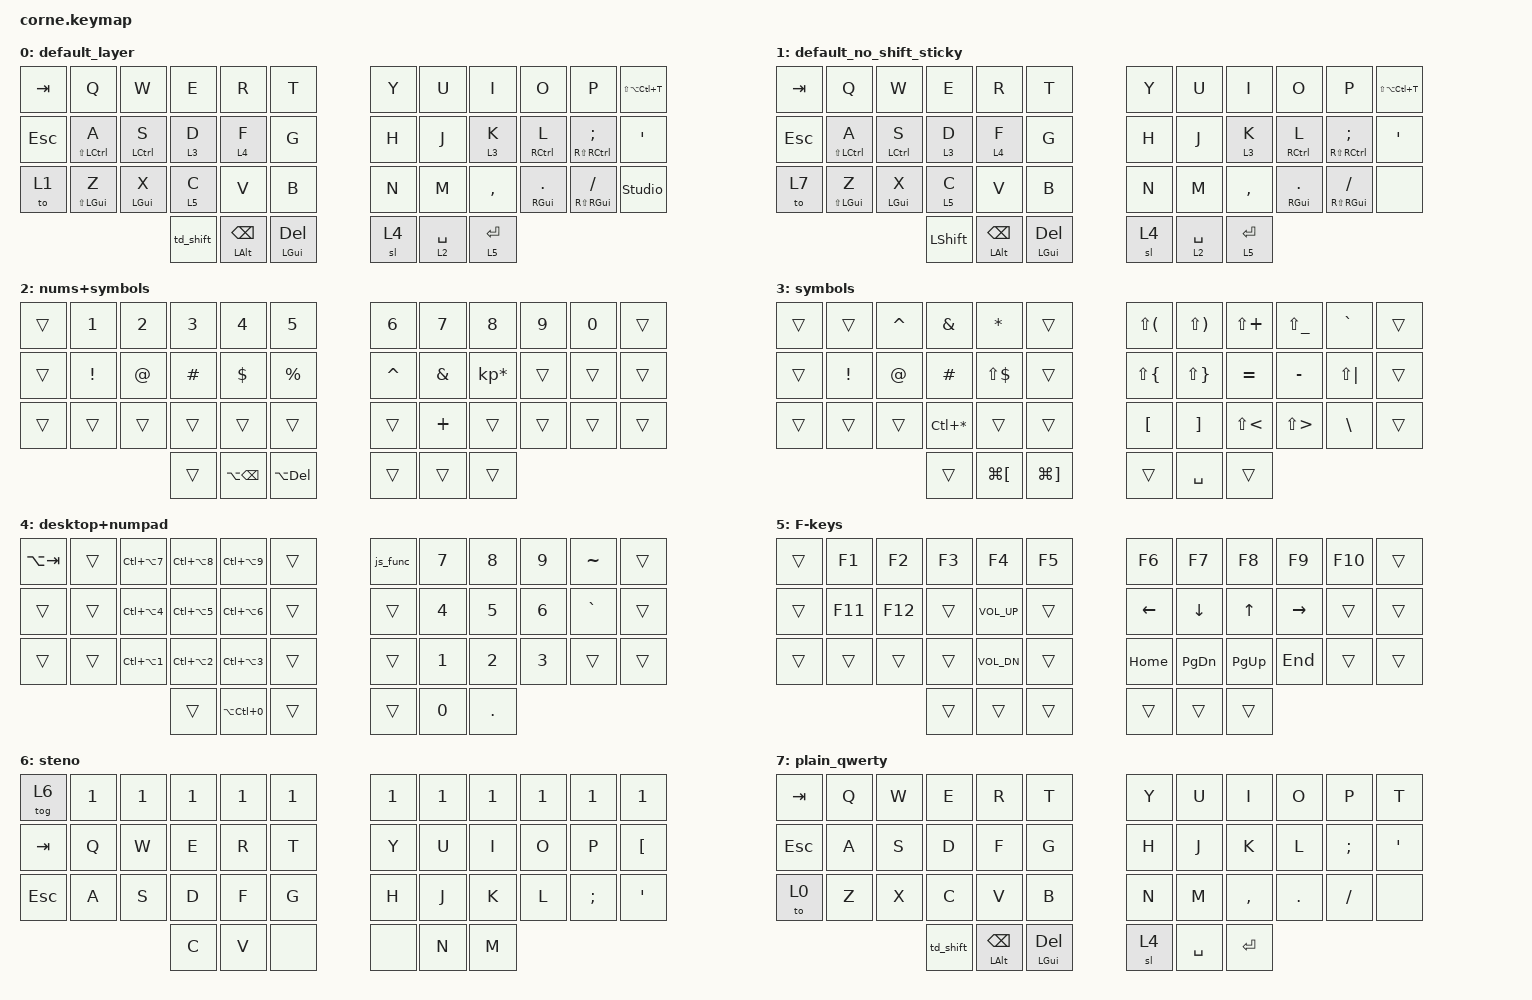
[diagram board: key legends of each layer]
/*
 * Copyright (c) 2020 The ZMK Contributors
 *
 * SPDX-License-Identifier: MIT
 */

#include <behaviors.dtsi>
#include <dt-bindings/zmk/bt.h>
#include <dt-bindings/zmk/keys.h>

&mt {
    flavor = "balanced";
    quick-tap-ms = <200>;
};

&lt { quick-tap-ms = <200>; };

&sk {
    quick-release;
    release-after-ms = <300>;
};

/ {
    combos {
        compatible = "zmk,combos";

        clearbt {
            bindings = <&bt BT_CLR_ALL>;
            key-positions = <0 24>;
        };

        comb_paren {
            bindings = <&kp LEFT_PARENTHESIS>;
            key-positions = <15 6>;
        };

        comb_brace {
            bindings = <&kp LEFT_BRACE>;
            key-positions = <15 18>;
        };

        comb_bracket {
            bindings = <&kp LEFT_BRACKET>;
            key-positions = <15 30>;
        };
    };

    behaviors {
        td_shift: td_shift {
            compatible = "zmk,behavior-tap-dance";
            label = "TD_SHIFT";
            #binding-cells = <0>;
            bindings = <&sk LEFT_SHIFT>, <&caps_word>;
        };

        lt_mod: lt_mod {
            compatible = "zmk,behavior-hold-tap";
            #binding-cells = <2>;
            flavor = "hold-preferred";
            tapping-term-ms = <200>;
            quick-tap-ms = <200>;
            bindings = <&kp>, <&sl>;
        };
    };

    macros {
        js_func: function {
            compatible = "zmk,behavior-macro";
            #binding-cells = <0>;
            bindings = <&kp LPAR &kp RPAR &kp SPACE &kp EQUAL &kp GT &kp SPACE &kp LBRC &kp ENTER>;
            label = "FUNCTION";
        };

        repeat: repeat {
            compatible = "zmk,behavior-macro";
            #binding-cells = <0>;
            bindings = <&kp F &repeat>;
            label = "REPEAT";
            wait-ms = <5000>;
        };
    };

    keymap {
        compatible = "zmk,keymap";

        default_layer {
            bindings = <
&kp TAB  &kp Q            &kp W        &kp E      &kp R                   &kp T                  &kp Y  &kp U        &kp I        &kp O         &kp P               &kp LS(LA(LC(T)))
&kp ESC  &mt LS(LCTRL) A  &mt LCTRL S  &lt 3 D    &lt 4 F                 &kp G                  &kp H  &kp J        &lt 3 K      &mt RCTRL L   &mt RS(RCTRL) SEMI  &kp SQT
&to 1    &mt LS(LGUI) Z   &mt LGUI X   &lt 5 C    &kp V                   &kp B                  &kp N  &kp M        &kp COMMA    &mt RGUI DOT  &mt RS(RGUI) FSLH   &studio_unlock
                                       &td_shift  &mt LEFT_ALT BACKSPACE  &mt LEFT_GUI DELETE    &sl 4  &lt 2 SPACE  &lt 5 ENTER
            >;
        };

        default_no_shift_sticky {
            bindings = <
&kp TAB  &kp Q            &kp W        &kp E           &kp R                   &kp T                  &kp Y  &kp U        &kp I        &kp O         &kp P               &kp LS(LA(LC(T)))
&kp ESC  &mt LS(LCTRL) A  &mt LCTRL S  &lt 3 D         &lt 4 F                 &kp G                  &kp H  &kp J        &lt 3 K      &mt RCTRL L   &mt RS(RCTRL) SEMI  &kp SQT
&to 7    &mt LS(LGUI) Z   &mt LGUI X   &lt 5 C         &kp V                   &kp B                  &kp N  &kp M        &kp COMMA    &mt RGUI DOT  &mt RS(RGUI) FSLH   &none
                                       &kp LEFT_SHIFT  &mt LEFT_ALT BACKSPACE  &mt LEFT_GUI DELETE    &sl 4  &lt 2 SPACE  &lt 5 ENTER
            >;
        };

        nums+symbols {
            bindings = <
&trans  &kp N1    &kp N2  &kp N3    &kp N4             &kp N5            &kp N6     &kp N7    &kp N8           &kp N9  &kp N0  &trans
&trans  &kp EXCL  &kp AT  &kp HASH  &kp DLLR           &kp PRCNT         &kp CARET  &kp AMPS  &kp KP_MULTIPLY  &trans  &trans  &trans
&trans  &trans    &trans  &trans    &trans             &trans            &trans     &kp PLUS  &trans           &trans  &trans  &trans
                          &trans    &kp LA(BACKSPACE)  &kp LA(DELETE)    &trans     &trans    &trans
            >;
        };

        symbols {
            bindings = <
&trans  &trans           &kp CARET    &kp AMPERSAND     &kp ASTERISK          &trans                   &kp LS(LPAR)  &kp LS(RPAR)  &kp LS(PLUS)  &kp LS(UNDER)  &kp GRAVE     &trans
&trans  &kp EXCLAMATION  &kp AT_SIGN  &kp HASH          &kp LS(DLLR)          &trans                   &kp LS(LBRC)  &kp LS(RBRC)  &kp EQUAL     &kp MINUS      &kp LS(PIPE)  &trans
&trans  &trans           &trans       &kp LC(ASTERISK)  &trans                &trans                   &kp LBKT      &kp RBKT      &kp LS(LT)    &kp LS(GT)     &kp BSLH      &trans
                                      &trans            &kp LG(LEFT_BRACKET)  &kp LG(RIGHT_BRACKET)    &trans        &kp SPACE     &trans
            >;
        };

        desktop+numpad {
            bindings = <
&kp LA(TAB)  &trans  &kp LC(LA(N7))  &kp LC(LA(N8))  &kp LC(LA(N9))  &trans    &js_func  &kp N7  &kp N8   &kp N9  &kp TILDE  &trans
&trans       &trans  &kp LC(LA(N4))  &kp LC(LA(N5))  &kp LC(LA(N6))  &trans    &trans    &kp N4  &kp N5   &kp N6  &kp GRAVE  &trans
&trans       &trans  &kp LC(LA(N1))  &kp LC(LA(N2))  &kp LC(LA(N3))  &trans    &trans    &kp N1  &kp N2   &kp N3  &trans     &trans
                                     &trans          &kp LA(LC(N0))  &trans    &trans    &kp N0  &kp DOT
            >;
        };

        F-keys {
            // -----------------------------------------------------------------------------------------
            // |  TAB |  1  |  2  |  3  |  4  |  5  |   |  6  |  7  |  8  |  9  |  0  | BKSP |
            // | BTCLR| BT1 | BT2 | BT3 | BT4 | BT5 |   | LFT | DWN |  UP | RGT |     |      |
            // | SHFT |     |     |     |     |     |   |     |     |     |     |     |      |
            //                    | GUI |     | SPC |   | ENT |     | ALT |

            bindings = <
&trans  &kp F1   &kp F2   &kp F3  &kp F4        &kp F5    &kp F6    &kp F7     &kp F8     &kp F9     &kp F10  &trans
&trans  &kp F11  &kp F12  &trans  &kp C_VOL_UP  &trans    &kp LEFT  &kp DOWN   &kp UP     &kp RIGHT  &trans   &trans
&trans  &trans   &trans   &trans  &kp C_VOL_DN  &trans    &kp HOME  &kp PG_DN  &kp PG_UP  &kp END    &trans   &trans
                          &trans  &trans        &trans    &trans    &trans     &trans
            >;
        };

        steno {
            bindings = <
&tog 6   &kp N1  &kp NUMBER_1  &kp NUMBER_1  &kp NUMBER_1  &kp NUMBER_1    &kp NUMBER_1  &kp NUMBER_1  &kp NUMBER_1  &kp NUMBER_1  &kp NUMBER_1  &kp NUMBER_1
&kp TAB  &kp Q   &kp W         &kp E         &kp R         &kp T           &kp Y         &kp U         &kp I         &kp O         &kp P         &kp LEFT_BRACKET
&kp ESC  &kp A   &kp S         &kp D         &kp F         &kp G           &kp H         &kp J         &kp K         &kp L         &kp SEMI      &kp SQT
                               &kp C         &kp V         &none           &none         &kp N         &kp M
            >;
        };

        plain_qwerty {
            bindings = <
&kp TAB  &kp Q  &kp W  &kp E      &kp R                   &kp T                  &kp Y  &kp U      &kp I      &kp O    &kp P     &kp T
&kp ESC  &kp A  &kp S  &kp D      &kp F                   &kp G                  &kp H  &kp J      &kp K      &kp L    &kp SEMI  &kp SQT
&to 0    &kp Z  &kp X  &kp C      &kp V                   &kp B                  &kp N  &kp M      &kp COMMA  &kp DOT  &kp FSLH  &none
                       &td_shift  &mt LEFT_ALT BACKSPACE  &mt LEFT_GUI DELETE    &sl 4  &kp SPACE  &kp RET
            >;
        };
    };
};
